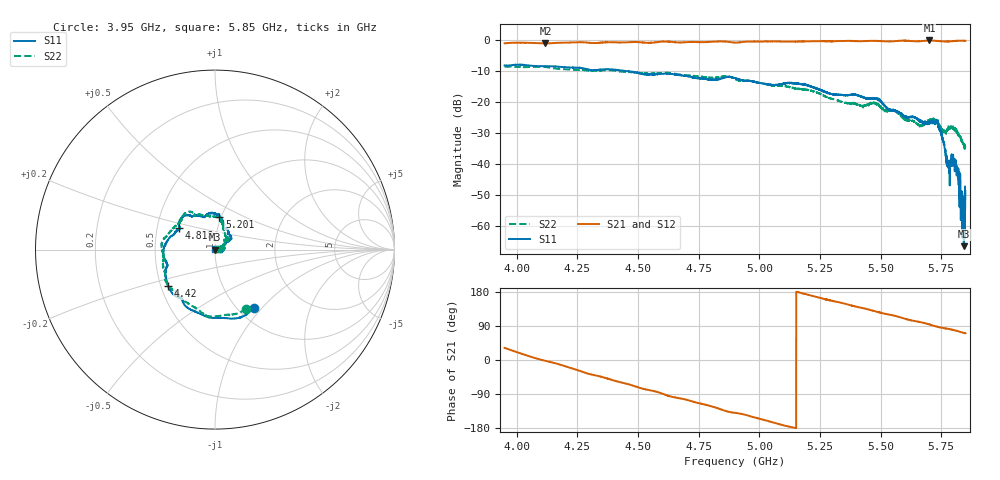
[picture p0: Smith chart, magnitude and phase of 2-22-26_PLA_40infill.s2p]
# GHZ S RI R 50.000000000000
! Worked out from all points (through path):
!   4501 points, 3.95 GHz to 5.85 GHz, reference 50 ohm
!   highest |S21| = -0.06 dB at 5.702 GHz (marker M1); lowest = -1.0 dB at 4.118 GHz (marker M2)
!   lowest |S11| = -66.4 dB at 5.844 GHz (marker M3), VSWR 1.00, Z = 50 + j0.023 ohm
!   |S11| at or under -10 dB: 4.459156 GHz to 4.460198 GHz (1.042 MHz wide, 0.0234 % of centre); 4.460778 GHz to 4.46209 GHz (1.312 MHz wide, 0.0294 % of centre); 4.462 GHz to end of sweep
!   |S22| runs from -35.0 to -8.4 dB; largest |S21 - S12| = 0.049
!   S11 on the Smith chart (normalised r, x): 3.95 GHz: 1.18, -0.91; 4.42 GHz: 0.55, -0.25; 4.818 GHz: 0.65, +0.16; 5.201 GHz: 0.98, +0.37; 5.85 GHz: 1.00, +0.01
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3.95  0.2186 -0.3269  0.7604 0.471  0.7517 0.4696  0.1744 -0.3334
4.118467  0.00471 -0.3819  0.888 -0.0372  0.8912 -0.0261  -0.0502 -0.3654
4.267089  -0.1583 -0.3203  0.8039 -0.4695  0.8159 -0.4561  -0.1863 -0.2766
4.419933  -0.2613 -0.2022  0.4947 -0.7766  0.5153 -0.7631  -0.2796 -0.1517
4.583756  -0.2786 -0.0564  0.0774 -0.9347  0.1 -0.9245  -0.2938 -0.00453
4.817667  -0.199 0.1196  -0.5467 -0.7794  -0.5244 -0.7927  -0.1879 0.1573
4.9  -0.1533 0.1914  -0.6982 -0.5994  -0.698 -0.6068  -0.1209 0.2039
5.050311  -0.0625 0.1805  -0.9196 -0.2713  -0.9127 -0.2941  -0.0297 0.1854
5.201044  0.0246 0.1838  -0.9538 0.13  -0.9508 0.1084  0.0385 0.1512
5.217089  0.0325 0.1743  -0.948 0.1759  -0.9496 0.1535  0.0416 0.146
5.357689  0.0534 0.1178  -0.8281 0.5203  -0.8312 0.5106  0.0561 0.0804
5.482244  0.0874 0.0743  -0.6008 0.7707  -0.6256 0.7564  0.0728 0.064
5.533756  0.0631 0.0427  -0.4782 0.8295  -0.4984 0.8222  0.0507 0.0521
5.662956  0.0467 0.0159  -0.1693 0.9508  -0.2012 0.9472  0.0403 0.00938
5.7018  0.0436 0.0149  -0.0627 0.991  -0.0947 0.9776  0.0491 0.0124
5.737267  0.0461 -0.00157  0.0466 0.9711  0.0183 0.9696  0.0446 -0.00138
5.777378  0.0096 -0.00139  0.1292 0.9519  0.0966 0.9433  0.0326 0.0144
5.806933  0.0115 0.00301  0.1993 0.9558  0.164 0.9549  0.0366 0.0116
5.8196  0.00662 0.00158  0.2387 0.9518  0.2056 0.9595  0.03 0.00756
5.8386  0.00183 0.00133  0.2991 0.9375  0.2696 0.95  0.021 0.00555
5.843667  0.000418 0.000229  0.3125 0.9325  0.2869 0.9449  0.0204 0.00505
5.85  -0.00144 0.00338  0.3279 0.9245  0.3042 0.938  0.018 0.00345
